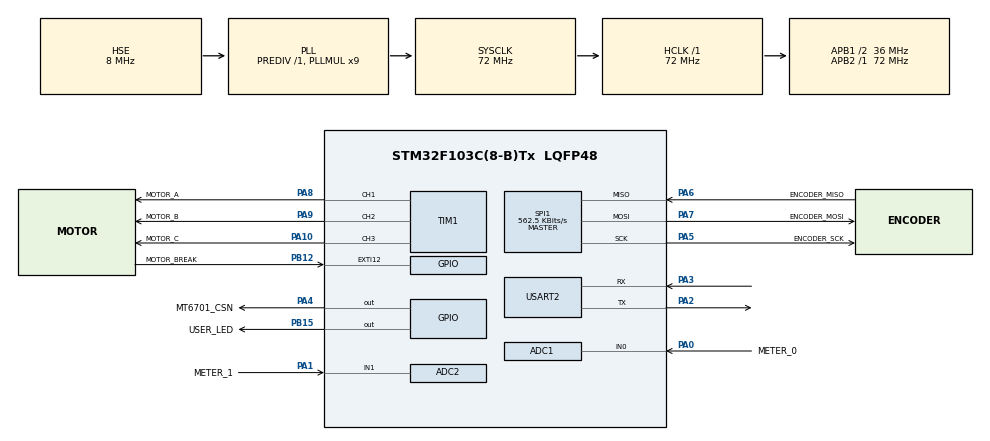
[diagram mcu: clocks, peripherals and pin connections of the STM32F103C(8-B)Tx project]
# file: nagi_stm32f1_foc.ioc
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ADC1.Channel-1\#ChannelInjectedConversion=ADC_CHANNEL_0
ADC1.ContinuousConvMode=ENABLE
ADC1.EnableAnalogWatchDog=false
ADC1.EnableInjectedConversion=ENABLE
ADC1.EnableRegularConversion=DISABLE
ADC1.ExternalTrigInjecConv=ADC_EXTERNALTRIGINJECCONV_T1_TRGO
ADC1.InjNumberOfConversion=1
ADC1.InjectedOffset-1\#ChannelInjectedConversion=0
ADC1.InjectedRank-1\#ChannelInjectedConversion=1
ADC1.Mode=ADC_DUALMODE_INJECSIMULT
ADC1.SamplingTime-1\#ChannelInjectedConversion=ADC_SAMPLETIME_7CYCLES_5
ADC1.master=1
ADC2.Channel-1\#ChannelInjectedConversion=ADC_CHANNEL_1
ADC2.ContinuousConvMode=ENABLE
ADC2.EnableInjectedConversion=ENABLE
ADC2.EnableRegularConversion=DISABLE
ADC2.InjNumberOfConversion=1
ADC2.InjectedOffset-1\#ChannelInjectedConversion=0
ADC2.InjectedRank-1\#ChannelInjectedConversion=1
ADC2.Mode=ADC_DUALMODE_INJECSIMULT
ADC2.SamplingTime-1\#ChannelInjectedConversion=ADC_SAMPLETIME_7CYCLES_5
Dma.Request0=SPI1_RX
Dma.Request1=SPI1_TX
Dma.SPI1_RX.0.Direction=DMA_PERIPH_TO_MEMORY
Dma.SPI1_RX.0.Instance=DMA1_Channel2
Dma.SPI1_RX.0.MemDataAlignment=DMA_MDATAALIGN_BYTE
Dma.SPI1_RX.0.MemInc=DMA_MINC_ENABLE
Dma.SPI1_RX.0.Mode=DMA_NORMAL
Dma.SPI1_RX.0.PeriphDataAlignment=DMA_PDATAALIGN_BYTE
Dma.SPI1_RX.0.PeriphInc=DMA_PINC_DISABLE
Dma.SPI1_RX.0.Priority=DMA_PRIORITY_LOW
Dma.SPI1_TX.1.Direction=DMA_MEMORY_TO_PERIPH
Dma.SPI1_TX.1.Instance=DMA1_Channel3
Dma.SPI1_TX.1.MemDataAlignment=DMA_MDATAALIGN_BYTE
Dma.SPI1_TX.1.MemInc=DMA_MINC_ENABLE
Dma.SPI1_TX.1.Mode=DMA_NORMAL
Dma.SPI1_TX.1.PeriphDataAlignment=DMA_PDATAALIGN_BYTE
Dma.SPI1_TX.1.PeriphInc=DMA_PINC_DISABLE
Dma.SPI1_TX.1.Priority=DMA_PRIORITY_LOW
Mcu.Family=STM32F1
Mcu.Name=STM32F103C(8-B)Tx
Mcu.Package=LQFP48
Mcu.UserConstants=speed_calc_freq,motor_speed_calc_freq;pwm_freq,motor_pwm_freq
NVIC.ADC1_2_IRQn=true\:1\:0\:true\:false\:true\:true\:true\:true
NVIC.DMA1_Channel2_IRQn=true\:0\:0\:false\:false\:true\:false\:true\:true
NVIC.DMA1_Channel3_IRQn=true\:0\:0\:false\:false\:true\:false\:true\:true
NVIC.EXTI15_10_IRQn=true\:3\:0\:true\:false\:true\:true\:true\:true
NVIC.PriorityGroup=NVIC_PRIORITYGROUP_4
NVIC.TIM3_IRQn=true\:1\:0\:true\:false\:true\:true\:true\:true
PA0-WKUP.GPIO_Label=METER_0
PA0-WKUP.Signal=ADCx_IN0
PA1.GPIO_Label=METER_1
PA1.Signal=ADCx_IN1
PA10.GPIO_Label=MOTOR_C
PA10.Signal=S_TIM1_CH3
PA13.Mode=Serial_Wire
PA13.Signal=SYS_JTMS-SWDIO
PA14.Mode=Serial_Wire
PA14.Signal=SYS_JTCK-SWCLK
PA2.Mode=Asynchronous
PA2.Signal=USART2_TX
PA3.Mode=Asynchronous
PA3.Signal=USART2_RX
PA4.GPIO_Label=MT6701_CSN
PA4.Signal=GPIO_Output
PA5.GPIO_Label=ENCODER_SCK
PA5.Mode=Full_Duplex_Master
PA5.Signal=SPI1_SCK
PA6.GPIO_Label=ENCODER_MISO
PA6.Mode=Full_Duplex_Master
PA6.Signal=SPI1_MISO
PA7.GPIO_Label=ENCODER_MOSI
PA7.Mode=Full_Duplex_Master
PA7.Signal=SPI1_MOSI
PA8.GPIO_Label=MOTOR_A
PA8.Signal=S_TIM1_CH1
PA9.GPIO_Label=MOTOR_B
PA9.Signal=S_TIM1_CH2
PB12.GPIO_Label=MOTOR_BREAK
PB12.GPIO_ModeDefaultEXTI=GPIO_MODE_IT_FALLING
PB12.Signal=GPXTI12
PB15.GPIO_Label=USER_LED
PB15.Signal=GPIO_Output
PD0-OSC_IN.Mode=HSE-External-Oscillator
PD0-OSC_IN.Signal=RCC_OSC_IN
PD1-OSC_OUT.Mode=HSE-External-Oscillator
PD1-OSC_OUT.Signal=RCC_OSC_OUT
ProjectManager.HeapSize=0x200
ProjectManager.StackSize=0x400
ProjectManager.TargetToolchain=CMake
RCC.ADCPresc=RCC_ADCPCLK2_DIV6
RCC.AHBFreq_Value=72000000
RCC.APB1CLKDivider=RCC_HCLK_DIV2
RCC.APB1Freq_Value=36000000
RCC.APB1TimFreq_Value=72000000
RCC.APB2Freq_Value=72000000
RCC.APB2TimFreq_Value=72000000
RCC.HCLKFreq_Value=72000000
RCC.PLLMUL=RCC_PLL_MUL9
RCC.PLLSourceVirtual=RCC_PLLSOURCE_HSE
RCC.SYSCLKFreq_VALUE=72000000
RCC.SYSCLKSource=RCC_SYSCLKSOURCE_PLLCLK
RCC.USBFreq_Value=72000000
SH.ADCx_IN0.0=ADC1_IN0,IN0
SH.ADCx_IN1.0=ADC2_IN1,IN1
SH.S_TIM1_CH1.0=TIM1_CH1,PWM Generation1 CH1
SH.S_TIM1_CH2.0=TIM1_CH2,PWM Generation2 CH2
SH.S_TIM1_CH3.0=TIM1_CH3,PWM Generation3 CH3
SPI1.BaudRatePrescaler=SPI_BAUDRATEPRESCALER_128
SPI1.CLKPhase=SPI_PHASE_2EDGE
SPI1.CalculateBaudRate=562.5 KBits/s
SPI1.Direction=SPI_DIRECTION_2LINES
SPI1.Mode=SPI_MODE_MASTER
SPI1.VirtualType=VM_MASTER
TIM1.AutoReloadPreload=TIM_AUTORELOAD_PRELOAD_ENABLE
TIM1.BreakPolarity=TIM_BREAKPOLARITY_LOW
TIM1.Channel-PWM\ Generation1\ CH1=TIM_CHANNEL_1
TIM1.Channel-PWM\ Generation2\ CH2=TIM_CHANNEL_2
TIM1.Channel-PWM\ Generation3\ CH3=TIM_CHANNEL_3
TIM1.CounterMode=TIM_COUNTERMODE_CENTERALIGNED3
TIM1.LockLevel=TIM_LOCKLEVEL_1
TIM1.Period=(72 * 1000000 / MOTOR_PWM_FREQ)
TIM1.RepetitionCounter=6
TIM1.TIM_MasterOutputTrigger=TIM_TRGO_UPDATE
TIM3.Period=(1000000 / SPEED_CALC_FREQ)
TIM3.Prescaler=(72-1)
USART2.VirtualMode=VM_ASYNC
VP_TIM1_VS_ClockSourceINT.Mode=Internal
VP_TIM3_VS_ClockSourceINT.Mode=Internal
board=custom

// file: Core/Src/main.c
/* USER CODE BEGIN Header */
/**
  ******************************************************************************
  * @file           : main.c
  * @brief          : Main program body
  ******************************************************************************
  * @attention
  *
  * Copyright (c) 2025 STMicroelectronics.
  * All rights reserved.
  *
  * This software is licensed under terms that can be found in the LICENSE file
  * in the root directory of this software component.
  * If no LICENSE file comes with this software, it is provided AS-IS.
  *
  ******************************************************************************
  */
/* USER CODE END Header */
#include "main.h"
#include "adc.h"
#include "dma.h"
#include "spi.h"
#include "tim.h"
#include "usart.h"
#include "gpio.h"

/* USER CODE BEGIN Includes */
#include <assert.h>
#include <stdio.h>
#include <string.h>

#include "nagi_foc_motor.h"
#include "kalman_filter_1d.h"
#include "low_pass_filter.h"
/* USER CODE END Includes */

void SystemClock_Config(void);
/* USER CODE BEGIN PFP */
nagi_foc_motor_t g_motor;
kalman_filter_1d_t g_speed_filter;
low_pass_filter_t g_current_d_filter;
low_pass_filter_t g_current_q_filter;
control_context_t g_control_context = {0};
/* USER CODE END PFP */

/* USER CODE BEGIN 0 */
void set_pwm_duty(float u, float v, float w) {
  u = CLAMP(u, 0.0f, 0.9f);
  v = CLAMP(v, 0.0f, 0.9f);
  w = CLAMP(w, 0.0f, 0.9f);
  __disable_irq();
  __HAL_TIM_SET_COMPARE(&htim1, TIM_CHANNEL_1, u * htim1.Instance->ARR);
  __HAL_TIM_SET_COMPARE(&htim1, TIM_CHANNEL_2, v * htim1.Instance->ARR);
  __HAL_TIM_SET_COMPARE(&htim1, TIM_CHANNEL_3, w * htim1.Instance->ARR);
  __enable_irq();
}
/* USER CODE END 0 */

int main(void)
{

  /* MCU Configuration--------------------------------------------------------*/

  /* Reset of all peripherals, Initializes the Flash interface and the Systick. */
  HAL_Init();

  /* Configure the system clock */
  SystemClock_Config();

  /* Initialize all configured peripherals */
  MX_GPIO_Init();
  MX_DMA_Init();
  MX_SPI1_Init();
  MX_USART2_UART_Init();
  MX_TIM1_Init();
  MX_TIM3_Init();
  MX_ADC1_Init();
  MX_ADC2_Init();
  /* USER CODE BEGIN 2 */

  // Initialize motor.
  const nagi_foc_motor_config_t motor_config = {
    .set_pwm_duty_fn = set_pwm_duty,
    .delay_fn = HAL_Delay,
    .pole_pairs = MOTOR_POLE_PAIRS,
    .voltage_limit = MOTOR_VOLTAGE_LIMIT,
    .position_cycle = MOTOR_POSITION_CYCLE,
    .kp_position = 1.0f / M_PI_4, // 45 degrees output 100% current.
    .ki_position = 0.0f,
    .kd_position = 0.0f,
    .kp_speed = 1.0f / (24.0f * 2.0f * M_PI), // 24 RPM output 100% current.
    .ki_speed = 0.0005f, // Update at 4KHz. So how 0.5s to reach 100% current.
    .kd_speed = 0.0f,
    .kp_current_d = 1.2f,
    .ki_current_d = 0.01f,
    .kd_current_d = 0.0f,
    .kp_current_q = 1.2f,
    .ki_current_q = 0.01f,
    .kd_current_q = 0.0f,
  };
  nagi_foc_error_t err = nagi_foc_motor_init(&g_motor, &motor_config);
  if (err != NAGI_FOC_MOTOR_OK) {
    printf("Motor initialization failed.\n");
  }
  assert(err == NAGI_FOC_MOTOR_OK && "Motor initialization failed.");

  // Initialize filters.
  kalman_filter_1d_init(&g_speed_filter, 0.001f, 0.1f);
  low_pass_filter_init_with_alpha(&g_current_d_filter, 0.1f);
  low_pass_filter_init_with_alpha(&g_current_q_filter, 0.1f);

  // Start encoder reading.
  HAL_GPIO_WritePin(MT6701_CSN_GPIO_Port, MT6701_CSN_Pin, GPIO_PIN_RESET);
  HAL_SPI_Receive_DMA(&hspi1, g_mt6701_rx_data, sizeof(g_mt6701_rx_data));
  HAL_Delay(10);
  HAL_TIM_Base_Start_IT(&htim3);

  // Start PWM.
  HAL_TIM_PWM_Start(&htim1, TIM_CHANNEL_1);
  HAL_TIM_PWM_Start(&htim1, TIM_CHANNEL_2);
  HAL_TIM_PWM_Start(&htim1, TIM_CHANNEL_3);

  // Start current reading.
  HAL_ADCEx_Calibration_Start(&hadc1);
  HAL_ADCEx_Calibration_Start(&hadc2);
  HAL_ADCEx_InjectedStart_IT(&hadc1);
  HAL_ADCEx_InjectedStart(&hadc2);

  HAL_Delay(100);

  // Start motor.
  err = nagi_foc_motor_calibrate(&g_motor);
  if (err != NAGI_FOC_MOTOR_OK) {
    printf("Motor calibration failed.\n");
  }
  assert(err == NAGI_FOC_MOTOR_OK && "Motor calibration failed.");
  printf("Motor Zero Angle: %f\n", g_motor.zero_angle);

  // Initialize control context.
  // g_control_context.position = 360.0f * DEG_TO_RAD;
  // g_control_context.type = CONTROL_TYPE_POSITION;

  g_control_context.speed = 10.0f * 2.0f * M_PI;
  g_control_context.type = CONTROL_TYPE_SPEED;

  // g_control_context.current_norm_d = 0.0f;
  // g_control_context.current_norm_q = 0.2f;
  // g_control_context.type = CONTROL_TYPE_CURRENT;

  // g_control_context.speed = 10.0f * 2.0f * PI;
  // g_control_context.max_current = 0.2f;
  // g_control_context.type = CONTROL_TYPE_SPEED_CURRENT;

  // g_control_context.position = 360.0f * DEG_TO_RAD;
  // g_control_context.max_speed = 20.0f * 2.0f * PI;
  // g_control_context.max_current = 0.8f;
  // g_control_context.type = CONTROL_TYPE_POSITION_SPEED_CURRENT;
  /* USER CODE END 2 */

  /* Infinite loop */
  while (1)
  {

    /* USER CODE BEGIN 3 */
    HAL_Delay(100);
    printf(
      "%f,%f,%f,%f\n",
      g_motor.logical_angle,
      g_motor.speed,
      g_motor.i_d,
      g_motor.i_q
    );
  }
  /* USER CODE END 3 */
}

void SystemClock_Config(void)
{
  RCC_OscInitTypeDef RCC_OscInitStruct = {0};
  RCC_ClkInitTypeDef RCC_ClkInitStruct = {0};
  RCC_PeriphCLKInitTypeDef PeriphClkInit = {0};

  /** Initializes the RCC Oscillators according to the specified parameters
  * in the RCC_OscInitTypeDef structure.
  */
  RCC_OscInitStruct.OscillatorType = RCC_OSCILLATORTYPE_HSE;
  RCC_OscInitStruct.HSEState = RCC_HSE_ON;
  RCC_OscInitStruct.HSEPredivValue = RCC_HSE_PREDIV_DIV1;
  RCC_OscInitStruct.HSIState = RCC_HSI_ON;
  RCC_OscInitStruct.PLL.PLLState = RCC_PLL_ON;
  RCC_OscInitStruct.PLL.PLLSource = RCC_PLLSOURCE_HSE;
  RCC_OscInitStruct.PLL.PLLMUL = RCC_PLL_MUL9;
  if (HAL_RCC_OscConfig(&RCC_OscInitStruct) != HAL_OK)
  {
    Error_Handler();
  }

  /** Initializes the CPU, AHB and APB buses clocks
  */
  RCC_ClkInitStruct.ClockType = RCC_CLOCKTYPE_HCLK|RCC_CLOCKTYPE_SYSCLK
                              |RCC_CLOCKTYPE_PCLK1|RCC_CLOCKTYPE_PCLK2;
  RCC_ClkInitStruct.SYSCLKSource = RCC_SYSCLKSOURCE_PLLCLK;
  RCC_ClkInitStruct.AHBCLKDivider = RCC_SYSCLK_DIV1;
  RCC_ClkInitStruct.APB1CLKDivider = RCC_HCLK_DIV2;
  RCC_ClkInitStruct.APB2CLKDivider = RCC_HCLK_DIV1;

  if (HAL_RCC_ClockConfig(&RCC_ClkInitStruct, FLASH_LATENCY_2) != HAL_OK)
  {
    Error_Handler();
  }
  PeriphClkInit.PeriphClockSelection = RCC_PERIPHCLK_ADC;
  PeriphClkInit.AdcClockSelection = RCC_ADCPCLK2_DIV6;
  if (HAL_RCCEx_PeriphCLKConfig(&PeriphClkInit) != HAL_OK)
  {
    Error_Handler();
  }
}

/* USER CODE BEGIN 4 */
// Implement __io_getchar for USART2.
int __io_getchar(void) {
  uint8_t c;
  HAL_UART_Receive(&huart2, &c, 1, HAL_MAX_DELAY);
  return c;
}

// Implement __io_putchar for USART2.
int __io_putchar(int ch) {
  HAL_UART_Transmit(&huart2, (uint8_t *)&ch, 1, HAL_MAX_DELAY);
  return ch;
}
/* USER CODE END 4 */

void Error_Handler(void)
{
  __disable_irq();
  while (1)
  {
  }
}
